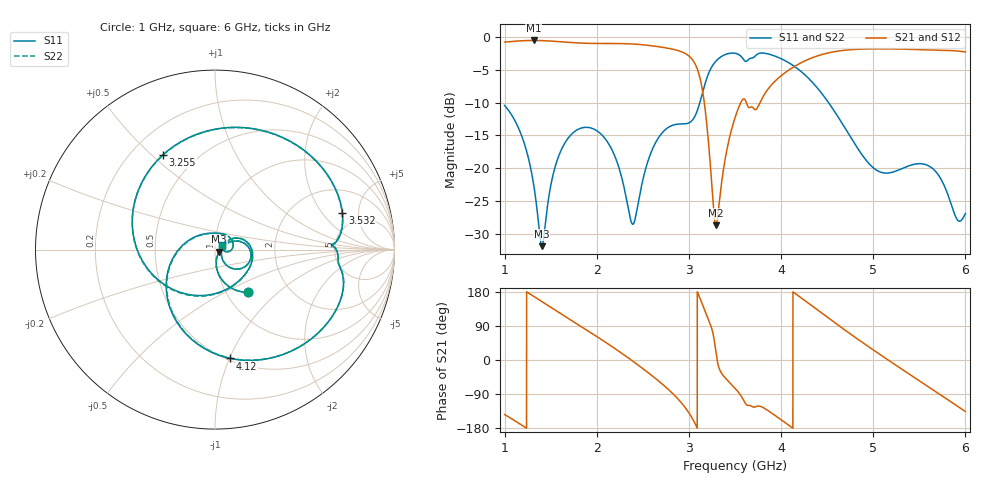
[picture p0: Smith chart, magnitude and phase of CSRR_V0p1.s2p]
! TOUCHSTONE file generated by CST MICROWAVE STUDIO
! Date and time: Tue Feb 11 22:25:56 2025
! Project name: CSRR_V0p1.cst
! Parameters = {k=5; W0=1.5; h=1.6; W=22; t=0.035}
! Header version: 2018
! Port assignment regex: !\s*Touchstone port\s*([0-9]+)\s*=\s*(CST MWS port|CST DS port)\s*([0-9]+|Zmin|Zmax)\s*\(\"(.*)\"\)(\s*mode\s*([0-9]+))?.*
! Touchstone port assignment:
! Touchstone port 1 = CST MWS port 1 ("Port1")
! Touchstone port 2 = CST MWS port 2 ("Port2")
# GHz S MA R 50
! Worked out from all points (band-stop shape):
!   5001 points, 1 GHz to 6 GHz, reference 50 ohm
!   highest |S21| = -0.54 dB at 1.316 GHz (marker M1); lowest = -28.7 dB at 3.292 GHz (marker M2)
!   |S21| within 3 dB of the highest: start of sweep to 3.042 GHz; 4.276 GHz to end of sweep
!   lowest |S11| = -31.9 dB at 1.404 GHz (marker M3), VSWR 1.05, Z = 52.3 - j1.28 ohm
!   |S11| at or under -10 dB: start of sweep to 3.119 GHz; 4.514 GHz to end of sweep
!   |S22| runs from -32.2 to -2.5 dB; largest |S21 - S12| = 2e-05
!   S11 on the Smith chart (normalised r, x): 1 GHz: 1.25, -0.66; 3.255 GHz: 0.33, +0.54; 3.532 GHz: 3.63, +3.24; 4.12 GHz: 0.52, -1.01; 6 GHz: 1.08, +0.05
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1  0.3001 -52.6  0.9133 -143.9  0.9133 -143.9  0.3002 -52.7
1.316  0.07425 -84.7  0.9394 167.8  0.9394 167.8  0.07397 -85.3
1.404  0.02541 -28.8  0.937 154.0  0.937 154.0  0.02441 -28.8
1.575  0.1173 23.8  0.9219 127.3  0.9219 127.3  0.1172 24.4
1.834  0.2022 -7.5  0.897 87.6  0.897 87.6  0.2024 -7.1
2.15  0.1444 -47.1  0.8904 38.0  0.8904 38.0  0.1449 -46.9
2.39  0.0373 -10.5  0.8828 -2.8  0.8828 -2.8  0.03716 -10.9
2.667  0.1692 18.7  0.8425 -54.6  0.8425 -54.6  0.169 19.3
2.876  0.216 -20.7  0.7887 -101.4  0.7887 -101.4  0.2163 -19.6
3.038  0.2321 -76.5  0.6704 -154.6  0.6704 -154.6  0.2329 -74.4
3.146  0.3718 -157.1  0.3946 147.0  0.3946 147.0  0.3694 -155.2
3.255  0.6022 118.8  0.06467 76.4  0.06467 76.4  0.5989 119.7
3.292  0.6522 98.2  0.03677 22.3  0.03677 22.4  0.6494 98.9
3.5  0.75 24.2  0.2418 -74.4  0.2418 -74.4  0.7494 24.5
3.532  0.7382 15.9  0.2806 -83.5  0.2806 -83.5  0.7377 16.2
3.791  0.7538 -24.3  0.3367 -123.8  0.3367 -123.8  0.7541 -24.0
4.12  0.6122 -82.0  0.5807 -178.6  0.5807 -178.6  0.6125 -81.6
4.334  0.4551 -118.0  0.6918 143.2  0.6918 143.2  0.4555 -117.4
4.716  0.1906 175.7  0.7944 75.0  0.7944 75.0  0.191 177.0
5.167  0.09182 83.4  0.8097 -0.9  0.8097 -0.9  0.09141 85.4
5.611  0.1031 10.6  0.7958 -72.6  0.7958 -72.6  0.1027 11.3
6  0.04506 32.4  0.7678 -136.0  0.7678 -136.0  0.04348 31.9
